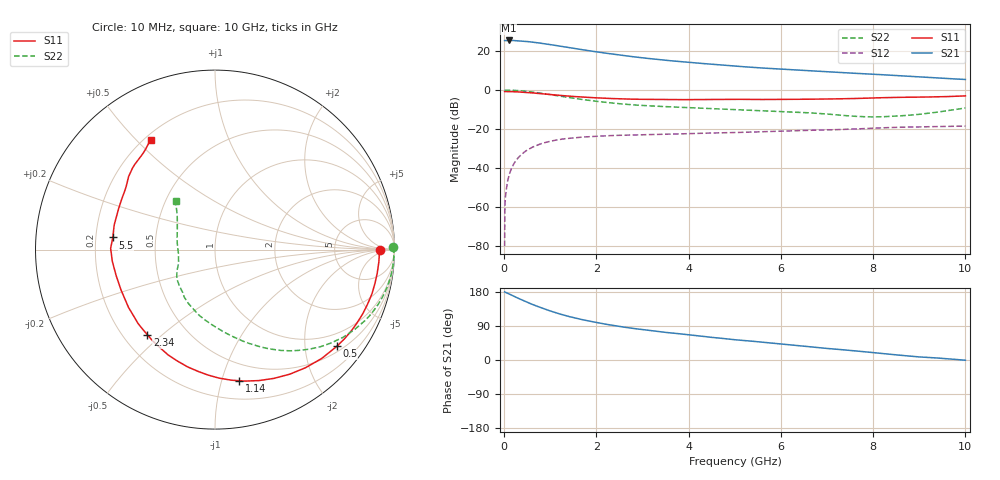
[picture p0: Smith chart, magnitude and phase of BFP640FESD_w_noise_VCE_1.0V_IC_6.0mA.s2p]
! Infineon Technologies  Discrete & RF Semiconductors
! BFP640FESD
! VCE =  1.0 V,  IC =  6.0 mA
! Common Emitter S-Parameters:  Jan 2016
# GHz  S  MA  R  50
!  f  S11  S21  S12  S22
! GHz  MAG  ANG  MAG  ANG  MAG  ANG  MAG  ANG
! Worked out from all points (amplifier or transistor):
!   233 points, 10 MHz to 10 GHz, reference 50 ohm
!   highest |S21| = 25.4 dB at 100 MHz (marker M1)
!   |S21| within 3 dB of that: start of sweep to 1.236 GHz
!   unconditionally stable (mu >= 1): start of sweep to 10.55 MHz; 5.841 GHz to end of sweep
!   at 200 MHz: K = 0.03, MSG = 31.8 dB, |S12| = -38.2 dB
!   at 1.74 GHz: K = 0.34, MSG = 22.3 dB, |S12| = -24.0 dB
!   at 10 GHz: K = 1.22, MAG = 9.1 dB, |S12| = -18.5 dB
!   lowest NFmin = 0.56 dB at 450 MHz
!   S11 on the Smith chart (normalised r, x): 10 MHz: 24, -2; 500 MHz: 0.63, -2.74; 1.14 GHz: 0.35, -1.14; 2.34 GHz: 0.30, -0.45; 5.5 GHz: 0.27, +0.06; 10 GHz: 0.22, +0.55
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0.01  0.9205 -0.3  18.53 179.7  0.0001 28.1  0.9899 0.7
0.015  0.9181 -1.0  18.53 179.4  0.0007 82.2  0.9934 -0.2
0.02  0.9158 -1.7  18.52 179.1  0.0013 85.8  0.9972 -1.0
0.1  0.9138 -7.9  18.68 174.8  0.0062 86.4  0.9959 -5.2
0.2  0.9085 -15.7  18.61 169.0  0.0123 81.0  0.9862 -10.5
0.3  0.8976 -23.4  18.36 163.3  0.0182 77.1  0.9707 -15.6
0.5  0.8668 -38.4  17.54 152.4  0.029 69.1  0.9241 -25.4
0.6  0.8492 -45.6  17.03 147.2  0.0338 65.2  0.895 -30.0
0.8  0.8097 -59.0  15.85 137.9  0.0422 58.3  0.8317 -38.6
0.98  0.7728 -70.3  14.75 130.2  0.0482 52.9  0.772 -45.6
1.14  0.743 -79.5  13.78 124.0  0.0526 48.8  0.7207 -51.3
1.4  0.6999 -93.2  12.3 114.9  0.0581 43.0  0.6442 -59.7
1.68  0.6635 -105.6  10.91 106.9  0.0622 38.3  0.5766 -67.5
1.94  0.6379 -115.4  9.784 100.4  0.0651 35.1  0.526 -74.0
2.34  0.6063 -128.4  8.397 91.8  0.0683 31.3  0.4662 -83.0
2.8  0.5839 -141.5  7.138 83.3  0.0708 28.2  0.417 -92.8
3.4  0.5704 -154.4  5.965 74.5  0.0734 26.2  0.3811 -102.1
5.1  0.5793 178.1  4.04 52.5  0.0822 23.7  0.3124 -123.5
5.5  0.5732 173.2  3.729 48.1  0.0848 24.4  0.2988 -127.1
6.8  0.5864 154.4  3.046 32.9  0.094 21.6  0.2523 -147.4
8.4  0.646 135.4  2.395 14.7  0.11 18.8  0.2123 171.5
10  0.7098 120.4  1.871 -0.7  0.1193 12.3  0.347 129.3
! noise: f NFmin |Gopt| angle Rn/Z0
0.45  0.56  0.41  7  0.12
2.4  0.71  0.23  58  0.11
5.5  0.99  0.39  149  0.08
10  1.78  0.49  -120  0.24
